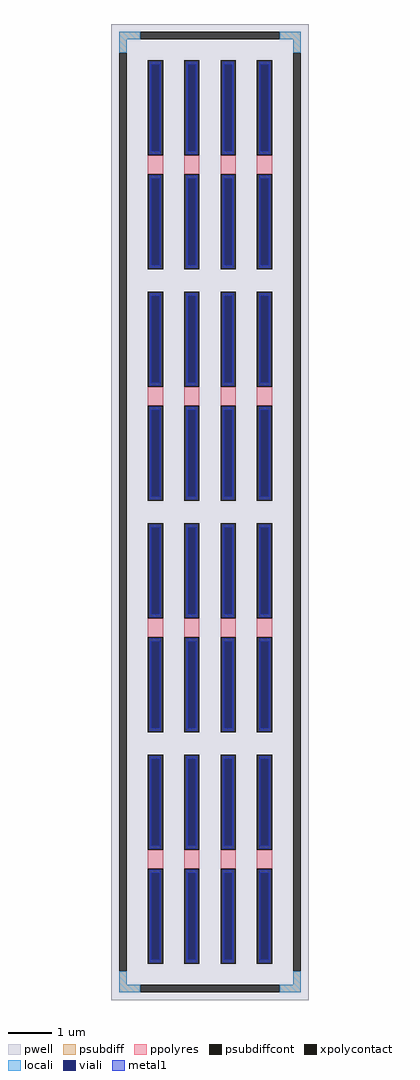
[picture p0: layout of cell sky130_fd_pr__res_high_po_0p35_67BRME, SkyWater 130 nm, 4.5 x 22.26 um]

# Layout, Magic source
magic
tech sky130A
magscale 1 2
<< pwell >>
rect -450 -2226 450 2226
<< psubdiff >>
rect -414 2156 -318 2190
rect 318 2156 414 2190
rect -414 2094 -380 2156
rect 380 2094 414 2156
rect -414 -2156 -380 -2094
rect 380 -2156 414 -2094
rect -414 -2190 -318 -2156
rect 318 -2190 414 -2156
<< psubdiffcont >>
rect -318 2156 318 2190
rect -414 -2094 -380 2094
rect 380 -2094 414 2094
rect -318 -2190 318 -2156
<< xpolycontact >>
rect -284 1628 -214 2060
rect -284 1108 -214 1540
rect -118 1628 -48 2060
rect -118 1108 -48 1540
rect 48 1628 118 2060
rect 48 1108 118 1540
rect 214 1628 284 2060
rect 214 1108 284 1540
rect -284 572 -214 1004
rect -284 52 -214 484
rect -118 572 -48 1004
rect -118 52 -48 484
rect 48 572 118 1004
rect 48 52 118 484
rect 214 572 284 1004
rect 214 52 284 484
rect -284 -484 -214 -52
rect -284 -1004 -214 -572
rect -118 -484 -48 -52
rect -118 -1004 -48 -572
rect 48 -484 118 -52
rect 48 -1004 118 -572
rect 214 -484 284 -52
rect 214 -1004 284 -572
rect -284 -1540 -214 -1108
rect -284 -2060 -214 -1628
rect -118 -1540 -48 -1108
rect -118 -2060 -48 -1628
rect 48 -1540 118 -1108
rect 48 -2060 118 -1628
rect 214 -1540 284 -1108
rect 214 -2060 284 -1628
<< ppolyres >>
rect -284 1540 -214 1628
rect -118 1540 -48 1628
rect 48 1540 118 1628
rect 214 1540 284 1628
rect -284 484 -214 572
rect -118 484 -48 572
rect 48 484 118 572
rect 214 484 284 572
rect -284 -572 -214 -484
rect -118 -572 -48 -484
rect 48 -572 118 -484
rect 214 -572 284 -484
rect -284 -1628 -214 -1540
rect -118 -1628 -48 -1540
rect 48 -1628 118 -1540
rect 214 -1628 284 -1540
<< locali >>
rect -414 2156 -318 2190
rect 318 2156 414 2190
rect -414 2094 -380 2156
rect 380 2094 414 2156
rect -414 -2156 -380 -2094
rect 380 -2156 414 -2094
rect -414 -2190 -318 -2156
rect 318 -2190 414 -2156
<< viali >>
rect -268 1645 -230 2042
rect -102 1645 -64 2042
rect 64 1645 102 2042
rect 230 1645 268 2042
rect -268 1126 -230 1523
rect -102 1126 -64 1523
rect 64 1126 102 1523
rect 230 1126 268 1523
rect -268 589 -230 986
rect -102 589 -64 986
rect 64 589 102 986
rect 230 589 268 986
rect -268 70 -230 467
rect -102 70 -64 467
rect 64 70 102 467
rect 230 70 268 467
rect -268 -467 -230 -70
rect -102 -467 -64 -70
rect 64 -467 102 -70
rect 230 -467 268 -70
rect -268 -986 -230 -589
rect -102 -986 -64 -589
rect 64 -986 102 -589
rect 230 -986 268 -589
rect -268 -1523 -230 -1126
rect -102 -1523 -64 -1126
rect 64 -1523 102 -1126
rect 230 -1523 268 -1126
rect -268 -2042 -230 -1645
rect -102 -2042 -64 -1645
rect 64 -2042 102 -1645
rect 230 -2042 268 -1645
<< metal1 >>
rect -274 2042 -224 2054
rect -274 1645 -268 2042
rect -230 1645 -224 2042
rect -274 1633 -224 1645
rect -108 2042 -58 2054
rect -108 1645 -102 2042
rect -64 1645 -58 2042
rect -108 1633 -58 1645
rect 58 2042 108 2054
rect 58 1645 64 2042
rect 102 1645 108 2042
rect 58 1633 108 1645
rect 224 2042 274 2054
rect 224 1645 230 2042
rect 268 1645 274 2042
rect 224 1633 274 1645
rect -274 1523 -224 1535
rect -274 1126 -268 1523
rect -230 1126 -224 1523
rect -274 1114 -224 1126
rect -108 1523 -58 1535
rect -108 1126 -102 1523
rect -64 1126 -58 1523
rect -108 1114 -58 1126
rect 58 1523 108 1535
rect 58 1126 64 1523
rect 102 1126 108 1523
rect 58 1114 108 1126
rect 224 1523 274 1535
rect 224 1126 230 1523
rect 268 1126 274 1523
rect 224 1114 274 1126
rect -274 986 -224 998
rect -274 589 -268 986
rect -230 589 -224 986
rect -274 577 -224 589
rect -108 986 -58 998
rect -108 589 -102 986
rect -64 589 -58 986
rect -108 577 -58 589
rect 58 986 108 998
rect 58 589 64 986
rect 102 589 108 986
rect 58 577 108 589
rect 224 986 274 998
rect 224 589 230 986
rect 268 589 274 986
rect 224 577 274 589
rect -274 467 -224 479
rect -274 70 -268 467
rect -230 70 -224 467
rect -274 58 -224 70
rect -108 467 -58 479
rect -108 70 -102 467
rect -64 70 -58 467
rect -108 58 -58 70
rect 58 467 108 479
rect 58 70 64 467
rect 102 70 108 467
rect 58 58 108 70
rect 224 467 274 479
rect 224 70 230 467
rect 268 70 274 467
rect 224 58 274 70
rect -274 -70 -224 -58
rect -274 -467 -268 -70
rect -230 -467 -224 -70
rect -274 -479 -224 -467
rect -108 -70 -58 -58
rect -108 -467 -102 -70
rect -64 -467 -58 -70
rect -108 -479 -58 -467
rect 58 -70 108 -58
rect 58 -467 64 -70
rect 102 -467 108 -70
rect 58 -479 108 -467
rect 224 -70 274 -58
rect 224 -467 230 -70
rect 268 -467 274 -70
rect 224 -479 274 -467
rect -274 -589 -224 -577
rect -274 -986 -268 -589
rect -230 -986 -224 -589
rect -274 -998 -224 -986
rect -108 -589 -58 -577
rect -108 -986 -102 -589
rect -64 -986 -58 -589
rect -108 -998 -58 -986
rect 58 -589 108 -577
rect 58 -986 64 -589
rect 102 -986 108 -589
rect 58 -998 108 -986
rect 224 -589 274 -577
rect 224 -986 230 -589
rect 268 -986 274 -589
rect 224 -998 274 -986
rect -274 -1126 -224 -1114
rect -274 -1523 -268 -1126
rect -230 -1523 -224 -1126
rect -274 -1535 -224 -1523
rect -108 -1126 -58 -1114
rect -108 -1523 -102 -1126
rect -64 -1523 -58 -1126
rect -108 -1535 -58 -1523
rect 58 -1126 108 -1114
rect 58 -1523 64 -1126
rect 102 -1523 108 -1126
rect 58 -1535 108 -1523
rect 224 -1126 274 -1114
rect 224 -1523 230 -1126
rect 268 -1523 274 -1126
rect 224 -1535 274 -1523
rect -274 -1645 -224 -1633
rect -274 -2042 -268 -1645
rect -230 -2042 -224 -1645
rect -274 -2054 -224 -2042
rect -108 -1645 -58 -1633
rect -108 -2042 -102 -1645
rect -64 -2042 -58 -1645
rect -108 -2054 -58 -2042
rect 58 -1645 108 -1633
rect 58 -2042 64 -1645
rect 102 -2042 108 -1645
rect 58 -2054 108 -2042
rect 224 -1645 274 -1633
rect 224 -2042 230 -1645
rect 268 -2042 274 -1645
rect 224 -2054 274 -2042
<< properties >>
string FIXED_BBOX -397 -2173 397 2173
string gencell sky130_fd_pr__res_high_po_0p35
string library sky130
string parameters w 0.350 l 0.6 m 4 nx 4 wmin 0.350 lmin 0.50 rho 319.8 val 1.661k dummy 0 dw 0.0 term 194.82 sterm 0.0 caplen 0 guard 1 glc 1 grc 1 gtc 1 gbc 1 compatible {sky130_fd_pr__res_high_po_0p35  sky130_fd_pr__res_high_po_0p69 sky130_fd_pr__res_high_po_1p41  sky130_fd_pr__res_high_po_2p85 sky130_fd_pr__res_high_po_5p73} snake 0 full_metal 1 wmax 0.350 vias 1 n_guard 0 hv_guard 0 viagb 0 viagt 0 viagl 0 viagr 0
<< end >>
